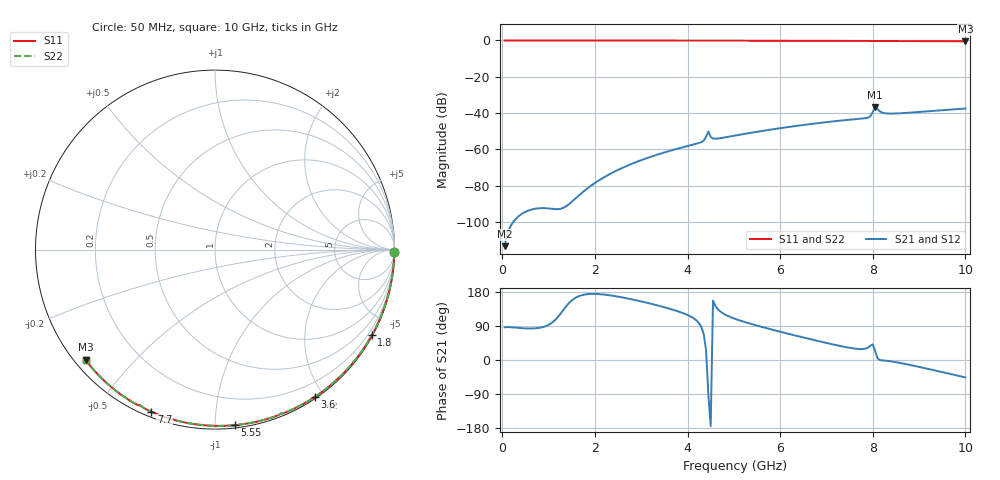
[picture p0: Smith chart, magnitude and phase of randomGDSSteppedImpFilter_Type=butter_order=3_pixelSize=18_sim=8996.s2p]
! freq	dB(S11)	phase(S11)	dB(S12)	phase(S12)
!  dB(S21)	phase(S21)	dB(S22)	phase(S22)
!S-par simulation data
#  GHz  S  DB  R 50
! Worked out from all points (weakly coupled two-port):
!   200 points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, 50 MHz to 10 GHz, reference 50 ohm
!   highest |S21| = -36.63 dB at 8.05 GHz (marker M1); lowest = -113.2 dB at 50 MHz (marker M2)
!   lowest |S11| = -0.5 dB at 10 GHz (marker M3), VSWR 36.88, Z = 1.54 - j18.4 ohm
!   |S11| at or under -10 dB: nowhere
!   |S22| runs from -0.5 to 0.0 dB; largest |S21 - S12| = 0
!   S11 on the Smith chart (normalised r, x): 50 MHz: open; 1.8 GHz: 0.03, -3.92; 3.6 GHz: 0.02, -1.88; 5.55 GHz: 0.02, -1.12; 7.7 GHz: 0.02, -0.68; 10 GHz: 0.03, -0.37
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0.05  -0.01 -0.8  -113.19 86.3  -113.19 86.3  -0.01 -0.8
1.75  -0.04 -27.9  -83.19 172.0  -83.19 172.0  -0.04 -27.9
1.8  -0.04 -28.7  -82.15 173.1  -82.15 173.1  -0.04 -28.7
1.9  -0.04 -30.2  -80.21 174.3  -80.21 174.3  -0.04 -30.2
2.25  -0.05 -35.6  -74.51 172.0  -74.51 172.0  -0.05 -35.6
2.65  -0.05 -41.7  -69.46 163.8  -69.46 163.8  -0.05 -41.7
3.4  -0.07 -53.0  -62.40 142.5  -62.40 142.5  -0.07 -53.0
3.6  -0.08 -56.0  -60.87 135.7  -60.87 135.7  -0.08 -56.0
4.3  -0.09 -66.1  -55.90 86.7  -55.90 86.7  -0.09 -66.1
4.35  -0.10 -66.9  -55.12 68.3  -55.12 68.3  -0.10 -66.9
4.45  -0.14 -68.1  -50.10 -92.1  -50.10 -92.1  -0.14 -68.1
4.5  -0.11 -68.8  -53.08 -174.6  -53.08 -174.6  -0.11 -68.8
4.55  -0.11 -69.6  -53.96 156.6  -53.96 156.6  -0.11 -69.5
5.05  -0.12 -76.6  -52.23 107.6  -52.23 107.6  -0.12 -76.6
5.55  -0.14 -83.4  -50.04 89.1  -50.04 89.1  -0.14 -83.4
6.7  -0.19 -98.6  -45.86 53.5  -45.86 53.5  -0.19 -98.6
7.7  -0.26 -111.4  -43.15 29.0  -43.15 29.0  -0.26 -111.4
7.95  -0.30 -114.6  -41.65 37.7  -41.65 37.7  -0.30 -114.6
8.05  -0.34 -115.5  -36.63 24.4  -36.63 24.4  -0.34 -115.5
8.2  -0.29 -117.4  -39.67 -0.9  -39.67 -0.9  -0.29 -117.4
8.35  -0.30 -119.4  -40.23 -2.8  -40.23 -2.8  -0.30 -119.4
10  -0.47 -139.6  -37.45 -46.0  -37.45 -46.0  -0.47 -139.6
